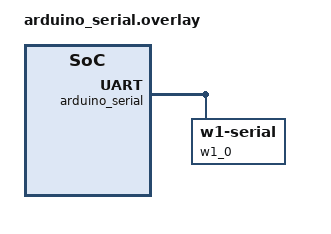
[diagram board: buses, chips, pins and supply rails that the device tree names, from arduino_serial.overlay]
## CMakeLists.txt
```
# SPDX-License-Identifier: Apache-2.0

cmake_minimum_required(VERSION 3.28.0)
find_package(Zephyr REQUIRED HINTS $ENV{ZEPHYR_BASE})
project(thermometer)

FILE(GLOB app_sources src/*.c)
target_sources(app PRIVATE ${app_sources})
```

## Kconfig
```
# Copyright (c) 2024 Analog Devices Inc.
# SPDX-License-Identifier: Apache-2.0

config SAMPLES_SENSOR_THERMOMETER_ALERT
	bool "Enable alert mode"
	default y
	help
	  Thermoter sensors generally has alarm pin too, incase of there is not or
	  you have not implemented it for your driver disable this flag
	  in your overlay file to discard alarm code from sample.

source "Kconfig.zephyr"
```

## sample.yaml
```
sample:
  name: Temperature Sensor
common:
  filter: dt_alias_exists("ambient-temp0")
  harness: console
tests:
  sample.sensor.thermometer:
    tags: sensors
    harness_config:
      fixture: sensor_ambient_temp
      type: multi_line
      regex:
        - "Thermometer Example (.*)"
        - "Temperature device is 0x[0-9|a-z]+, name is [a-z|0-9]+@[a-z|0-9]+"
        - "Temperature is [0-9|.]+°C"
    integration_platforms:
      - nrf52840dk/nrf52840   # mcp9700a
      - frdm_k22f             # tcn75a
      - robokit1              # ntc_thermistor
      - adi_eval_adin1110ebz  # adt7420
      - frdm_rw612            # p3t1755
    extra_args:
      - platform:mimxrt1180_evk/mimxrt1189/cm33:SHIELD=p3t1755dp_ard_i2c
      - platform:mimxrt1180_evk/mimxrt1189/cm7:SHIELD=p3t1755dp_ard_i2c
      - platform:frdm_mcxn236/mcxn236:SHIELD=p3t1755dp_ard_i2c
      - platform:mimxrt700_evk/mimxrt798s/cm33_cpu0:SHIELD=p3t1755dp_ard_i2c
  sample.sensor.thermometer_i3c:
    tags: sensors
    harness_config:
      fixture: sensor_ambient_temp_i3c
      type: multi_line
      regex:
        - "Thermometer Example (.*)"
        - "Temperature device is 0x[0-9|a-z]+, name is [a-z|0-9]+@[a-z|0-9]+"
        - "Temperature is [0-9|.]+°C"
    integration_platforms:
      - frdm_mcxn947/mcxn947/cpu0 # p3t1755
      - frdm_mcxa153              # p3t1755
      - frdm_mcxa577              # p3t1755
    depends_on:
      - i3c
    filter: dt_alias_exists("ambient-temp0")
    extra_args:
      - platform:mimxrt1180_evk/mimxrt1189/cm33:SHIELD=p3t1755dp_ard_i3c
      - platform:mimxrt1180_evk/mimxrt1189/cm7:SHIELD=p3t1755dp_ard_i3c
      - platform:frdm_imxrt1186/mimxrt1186/cm33:SHIELD=p3t1755dp_ard_i3c
      - platform:frdm_imxrt1186/mimxrt1186/cm7:SHIELD=p3t1755dp_ard_i3c
      - platform:frdm_mcxn236/mcxn236:SHIELD=p3t1755dp_ard_i3c
  sample.sensor.thermometer_w1:
    tags: sensors
    platform_allow: nucleo_g071rb
    depends_on: arduino_serial
    integration_platforms:
      - nucleo_g071rb           # max31826
    extra_args: "DTC_OVERLAY_FILE=arduino_serial.overlay"
    extra_configs:
      - CONFIG_W1=y
    harness_config:
      fixture: sensor_ambient_temp_w1
      type: multi_line
      regex:
        - "Thermometer Example (.*)"
        - "Temperature device is 0x[0-9|a-z]+, name is max31826"
        - "Temperature is [0-9|.]+°C"
```

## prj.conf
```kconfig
CONFIG_SENSOR=y
CONFIG_STDOUT_CONSOLE=y
CONFIG_CBPRINTF_FP_SUPPORT=y
```

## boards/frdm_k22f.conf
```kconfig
# Enable trigger support
CONFIG_TCN75A_TRIGGER_GLOBAL_THREAD=y
```

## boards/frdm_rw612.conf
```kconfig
#
# Copyright 2025 NXP
#
# SPDX-License-Identifier: Apache-2.0
#
CONFIG_PM=y
CONFIG_PM_DEVICE=y
```

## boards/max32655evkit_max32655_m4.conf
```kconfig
# Copyright (c) 2024 Analog Devices, Inc.
# SPDX-License-Identifier: Apache-2.0
CONFIG_LOG=y
CONFIG_SENSOR_LOG_LEVEL_DBG=y
CONFIG_SAMPLES_SENSOR_THERMOMETER_ALERT=n
```

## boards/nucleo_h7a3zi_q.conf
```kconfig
# SPDX-FileCopyrightText: Copyright The Zephyr Project Contributors
# SPDX-License-Identifier: Apache-2.0

# Enable trigger support
CONFIG_TMP1075_TRIGGER_GLOBAL_THREAD=y
CONFIG_I2C_STM32_INTERRUPT=n
```

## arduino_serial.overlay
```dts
/*
 * Copyright (c) 2022 Thomas Stranger
 * Copyright (c) 2026 Foss Analytical A/S
 *
 * SPDX-License-Identifier: Apache-2.0
 */

/*
 * Example configuration of a MAX31826 device on an Arduino serial bus.
 * Requires external circuit to provide an open-drain interface.
 */

&arduino_serial {
	status = "okay";

	w1_0: w1-zephyr-serial-0 {
		compatible = "zephyr,w1-serial";
		#address-cells = <1>;
		#size-cells = <0>;
		status = "okay";

		max31826: max31826 {
			compatible = "maxim,max31826";
			family-code = <0x3b>;
			status = "okay";
		};
	};
};

/ {
	aliases {
		ambient-temp0 = &max31826;
	};
};
```

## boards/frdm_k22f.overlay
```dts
/*
 * Copyright 2023 Daniel DeGrasse <daniel@degrasse.com>
 *
 * SPDX-License-Identifier: Apache-2.0
 */

/ {
	aliases {
		ambient-temp0 = &temp_sensor;
	};
};

/*
 * Note- TCN75A is not present on the FRDM-K22F eval board, and must be
 * wired to i2c0 and PTC2 externally
 */
&i2c0 {
	temp_sensor: tcn75a@48 {
		compatible = "microchip,tcn75a";
		reg = <0x48>;
		alert-gpios = <&gpioc 2 (GPIO_ACTIVE_LOW | GPIO_PULL_UP)>;
		resolution = "10-bit";
	};
};
```

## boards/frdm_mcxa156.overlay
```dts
/*
 * Copyright 2024 NXP
 *
 * SPDX-License-Identifier: Apache-2.0
 */

#include <freq.h>

/ {
	aliases {
		ambient-temp0 = &p3t1755;
	};
};

&i3c0 {
	status = "okay";

	i2c-scl-hz = <DT_FREQ_K(400)>;
	i3c-scl-hz = <DT_FREQ_M(4)>;
	i3c-od-scl-hz = <DT_FREQ_K(1500)>;

	p3t1755: p3t1755@4800000236152a0090 {
		compatible = "nxp,p3t1755";
		reg = <0x48 0x0236 0x152a0090>;
		status = "okay";
	};
};
```

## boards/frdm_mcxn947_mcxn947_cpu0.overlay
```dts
/*
 * Copyright 2024 NXP
 *
 * SPDX-License-Identifier: Apache-2.0
 */

#include <freq.h>

/ {
	aliases {
		ambient-temp0 = &p3t1755;
	};
};

&i3c1 {
	status = "okay";

	i2c-scl-hz = <DT_FREQ_K(400)>;
	i3c-scl-hz = <DT_FREQ_M(4)>;
	i3c-od-scl-hz = <DT_FREQ_K(1500)>;

	p3t1755: p3t1755@4800000236152a0090 {
		compatible = "nxp,p3t1755";
		reg = <0x48 0x0236 0x152a0090>;
		status = "okay";
	};
};
```

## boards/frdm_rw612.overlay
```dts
/*
 * Copyright 2025 NXP
 *
 * SPDX-License-Identifier: Apache-2.0
 */

/* Enable standby low power mode (AKA PM3, or Sleep mode) */
&standby {
	status = "okay";
};
```

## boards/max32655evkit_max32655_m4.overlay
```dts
/*
 * Copyright (c) 2024 Analog Devices, Inc.
 *
 * SPDX-License-Identifier: Apache-2.0
 */

/ {
	aliases {
		ambient-temp0 = &temp_sensor;
	};
};

&owm_io_p0_6 {
	power-source=<MAX32_VSEL_VDDIOH>;
};

w1_0: &w1 {
	status = "okay";
	pinctrl-0 = <&owm_io_p0_6>;
	internal-pullup = <1>;

	temp_sensor: max31825 {
		compatible = "adi,max31825";
		resolution = <12>;
		/* 0 means no automatic conversion */
		conversions-per-second = "0";
		status = "okay";
	};
};
```

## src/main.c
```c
/*
 * Copyright (c) 2016 ARM Ltd.
 * Copyright (c) 2023 FTP Technologies
 * Copyright (c) 2023 Daniel DeGrasse <daniel@degrasse.com>
 *
 * SPDX-License-Identifier: Apache-2.0
 */

#include <zephyr/kernel.h>
#include <zephyr/drivers/sensor.h>
#include <stdio.h>

static double high_temp;
static double low_temp;

int read_temperature(const struct device *dev, struct sensor_value *val)
{
	int ret;

	ret = sensor_sample_fetch_chan(dev, SENSOR_CHAN_AMBIENT_TEMP);
	if (ret < 0) {
		printf("Could not fetch temperature: %d\n", ret);
		return ret;
	}

	ret = sensor_channel_get(dev, SENSOR_CHAN_AMBIENT_TEMP, val);
	if (ret < 0) {
		printf("Could not get temperature: %d\n", ret);
	}
	return ret;
}

void temp_alert_handler(const struct device *dev, const struct sensor_trigger *trig)
{
	int ret;
	struct sensor_value value;
	double temp;

	/* Read sensor value */
	ret = read_temperature(dev, &value);
	if (ret < 0) {
		printf("Reading temperature failed: %d\n", ret);
		return;
	}
	temp = sensor_value_to_double(&value);
	if (temp <= low_temp) {
		printf("Temperature below threshold: %0.1f°C\n", temp);
	} else if (temp >= high_temp) {
		printf("Temperature above threshold: %0.1f°C\n", temp);
	} else {
		printf("Error: temperature alert triggered without valid condition\n");
	}
}

int main(void)
{
	const struct device *const dev = DEVICE_DT_GET(DT_ALIAS(ambient_temp0));
	struct sensor_value value;
	double temp;
	int ret;
	const struct sensor_trigger trig = {
		.chan = SENSOR_CHAN_AMBIENT_TEMP,
		.type = SENSOR_TRIG_THRESHOLD,
	};

	printf("Thermometer Example (%s)\n", CONFIG_ARCH);

	if (!device_is_ready(dev)) {
		printf("Device %s is not ready\n", dev->name);
		return 0;
	}

	printf("Temperature device is %p, name is %s\n", dev, dev->name);

	/* First, fetch a sensor sample to use for sensor thresholds */
	ret = read_temperature(dev, &value);
	if (ret != 0) {
		printf("Failed to read temperature: %d\n", ret);
		return ret;
	}
	temp = sensor_value_to_double(&value);

	/* Set thresholds to +0.5 and +1.5 °C from ambient */
	low_temp = temp + 0.5;
	ret = sensor_value_from_double(&value, low_temp);
	if (ret != 0) {
		printf("Failed to convert low threshold to sensor value: %d\n", ret);
		return ret;
	}
	ret = sensor_attr_set(dev, SENSOR_CHAN_AMBIENT_TEMP,
			      SENSOR_ATTR_LOWER_THRESH, &value);
	if (ret == 0) {
		/* This sensor supports threshold triggers */
		printf("Set temperature lower limit to %0.1f°C\n", low_temp);
	}

	high_temp = temp + 1.5;
	ret = sensor_value_from_double(&value, high_temp);
	if (ret != 0) {
		printf("Failed to convert low threshold to sensor value: %d\n", ret);
		return ret;
	}
	ret = sensor_attr_set(dev, SENSOR_CHAN_AMBIENT_TEMP,
			      SENSOR_ATTR_UPPER_THRESH, &value);
	if (ret == 0) {
		/* This sensor supports threshold triggers */
		printf("Set temperature upper limit to %0.1f°C\n", high_temp);
	}

	ret = sensor_trigger_set(dev, &trig, temp_alert_handler);
	if (ret == 0) {
		printf("Enabled sensor threshold triggers\n");
	}

	while (1) {
		ret = read_temperature(dev, &value);
		if (ret != 0) {
			printf("Failed to read temperature: %d\n", ret);
			break;
		}

		printf("Temperature is %0.1lf°C\n", sensor_value_to_double(&value));

		k_sleep(K_MSEC(1000));
	}
	return 0;
}
```
